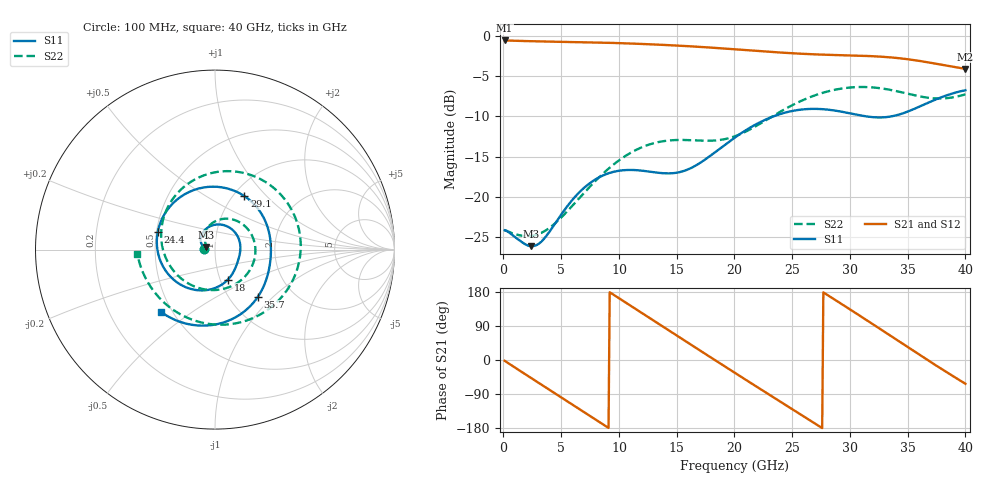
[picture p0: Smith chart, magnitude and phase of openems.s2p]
! D_s8_cap_none: L1 (ref L2 GND) → L3 (ref L4 PWR), no capacitor
! stackup: 8-layer 1.6 mm FR-4 (generic)
! ports: 1, 2
! openEMS 0.37.0, staircase, fine mesh (dfine 0.0175 mm), 2066652 cells
# Hz S RI R 50
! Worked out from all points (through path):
!   400 points, 100 MHz to 40 GHz, reference 50 ohm
!   highest |S21| = -0.57 dB at 100 MHz (marker M1); lowest = -4.1 dB at 40 GHz (marker M2)
!   group delay of S21, straight-line fit = 54.3 ps
!   lowest |S11| = -26.1 dB at 2.4 GHz (marker M3), VSWR 1.10, Z = 45.4 + j1.14 ohm
!   |S11| at or under -10 dB: start of sweep to 23.37 GHz; 31.44 GHz to 33.57 GHz (2.124 GHz wide, 6.54 % of centre)
!   |S22| runs from -24.9 to -6.3 dB; largest |S21 - S12| = 0.0056
!   S11 on the Smith chart (normalised r, x): 100 MHz: 0.88, +0.00; 18 GHz: 1.09, -0.38; 24.4 GHz: 0.51, +0.11; 29.1 GHz: 1.12, +0.76; 35.7 GHz: 1.35, -0.81; 40 GHz: 0.43, -0.38
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1e8  -0.0622 0.0018  0.9357 -0.0331  0.9357 -0.0331  -0.0621 0.00191
1.2e9  -0.0535 0.0129  0.8509 -0.3784  0.8509 -0.3784  -0.0561 0.0159
2.4e9  -0.0479 0.0125  0.6242 -0.6843  0.6242 -0.6844  -0.0519 0.0245
4.6e9  -0.0678 0.0196  -0.0129 -0.9191  -0.0129 -0.9191  -0.0554 0.0427
6.8e9  -0.0741 0.0826  -0.6343 -0.6572  -0.6343 -0.6571  -0.0571 0.0854
8.4e9  -0.0238 0.1316  -0.8791 -0.228  -0.879 -0.2278  -0.0339 0.1306
9.9e9  0.0524 0.1353  -0.8711 0.2334  -0.8709 0.2333  0.0195 0.1655
1.18e10  0.1264 0.0734  -0.5442 0.7065  -0.5442 0.706  0.1214 0.16
1.34e10  0.1413 0.00319  -0.0943 0.8767  -0.0951 0.8766  0.1994 0.0906
1.54e10  0.1261 -0.0684  0.4745 0.7262  0.4741 0.7273  0.2184 -0.058
1.67e10  0.108 -0.1146  0.7319 0.4454  0.7327 0.4467  0.1634 -0.1537
1.8e10  0.0714 -0.1676  0.8407 0.0863  0.8423 0.0865  0.0617 -0.2149
2.01e10  -0.0624 -0.2272  0.6746 -0.4741  0.6752 -0.4759  -0.1415 -0.1926
2.23e10  -0.2564 -0.1416  0.1707 -0.7846  0.1691 -0.7853  -0.2871 -0.0101
2.44e10  -0.3189 0.0991  -0.3702 -0.6915  -0.3711 -0.6901  -0.2658 0.2307
2.67e10  -0.1303 0.3272  -0.7326 -0.2333  -0.731 -0.2327  -0.0516 0.4173
2.91e10  0.164 0.298  -0.6657 0.3645  -0.6654 0.362  0.2663 0.3857
3.14e10  0.2992 0.1033  -0.2083 0.7211  -0.2121 0.7209  0.4662 0.1189
3.34e10  0.3079 -0.0654  0.2975 0.6735  0.2963 0.6783  0.4214 -0.1934
3.57e10  0.2384 -0.2636  0.6615 0.2424  0.6669 0.244  0.1093 -0.4119
3.76e10  0.0544 -0.4037  0.6385 -0.1973  0.6415 -0.2017  -0.2087 -0.3512
4e10  -0.3029 -0.3458  0.2863 -0.5541  0.2827 -0.5565  -0.4328 -0.0224
